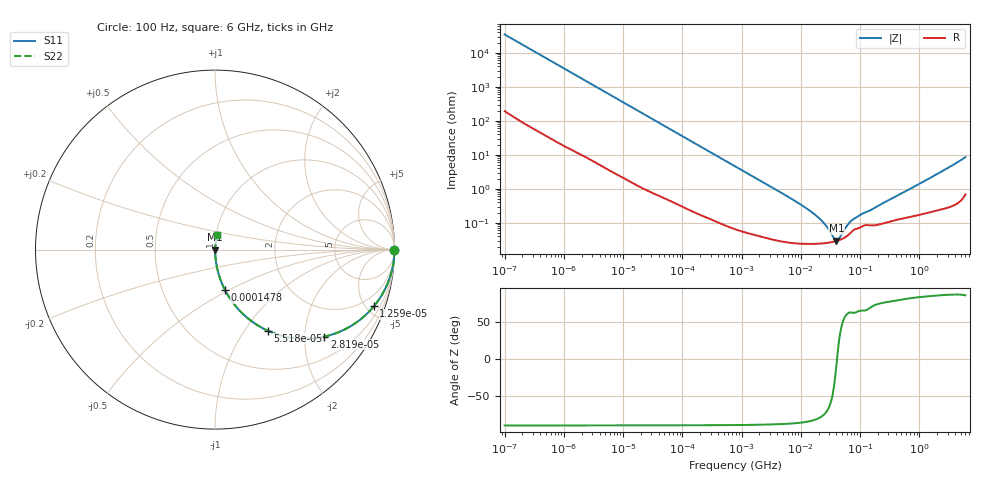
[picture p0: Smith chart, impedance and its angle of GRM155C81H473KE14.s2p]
!Murata Part Number: GRM155C81H473KE14
!These Parameters are Measured in Series Mode Connection
!Data Generated on Mar 30, 2021
!  o--ll--o
!Port1  Port2
!  o------o
!Operation Temp=25[degC], DC Bias Voltage=0[V]
!Freq. Start=100[Hz] Stop=6[GHz] 401[Steps]
# Hz S RI R 50
!Freq.(Hz) S11(Real) S11(Imag) S21(Real) S21(Imag) S12(Real) S12(Imag) S22(Real) S22(Imag)
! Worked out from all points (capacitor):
!   401 points, 100 Hz to 6 GHz, reference 50 ohm
!   read as one part in series: C = 45.9 nF near 109 Hz
!   lowest |Z| = 29.6 mohm at 39.84 MHz (marker M1)
!   series resonance near 40.88 MHz, so ESL is about 330 pH
!   S11 on the Smith chart (normalised r, x): 100 Hz: open; 12.59 kHz: 1.03, -5.59; 28.19 kHz: 1.02, -2.50; 55.18 kHz: 1.01, -1.28; 147.8 kHz: 1.00, -0.48; 6 GHz: 1.01, +0.17
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100  1 -0.00289  2.45e-05 0.00289  2.45e-05 0.00289  1 -0.00289
2008  0.9964 -0.0573  0.00362 0.0573  0.00362 0.0573  0.9964 -0.0573
5378  0.9762 -0.1496  0.0238 0.1496  0.0238 0.1496  0.9762 -0.1496
12592  0.8849 -0.3161  0.1151 0.3161  0.1151 0.3161  0.8849 -0.3161
18841  0.7761 -0.4138  0.2239 0.4138  0.2239 0.4138  0.7761 -0.4138
28191  0.6095 -0.4846  0.3905 0.4846  0.3905 0.4846  0.6095 -0.4846
40335  0.4345 -0.4922  0.5655 0.4922  0.5655 0.4922  0.4345 -0.4922
55182  0.2926 -0.4512  0.7074 0.4512  0.7074 0.4512  0.2926 -0.4512
86348  0.1463 -0.3493  0.8537 0.3493  0.8537 0.3493  0.1463 -0.3493
147774  0.0565 -0.2264  0.9435 0.2264  0.9435 0.2264  0.0565 -0.2264
316350  0.0137 -0.1111  0.9863 0.1111  0.9863 0.1111  0.0137 -0.1111
774597  0.00278 -0.0461  0.9972 0.0461  0.9972 0.0461  0.00278 -0.0461
6353432  0.000292 -0.00559  0.9997 0.00559  0.9997 0.00559  0.000292 -0.00559
1.555665e7  0.000244 -0.002  0.9998 0.002  0.9998 0.002  0.000244 -0.002
2.434276e7  0.000252 -0.000968  0.9997 0.000968  0.9997 0.000968  0.000252 -0.000968
3.64232e7  0.000281 -0.000207  0.9997 0.000207  0.9997 0.000207  0.000281 -0.000207
3.983537e7  0.000293 -4.6e-05  0.9997 4.6e-05  0.9997 4.6e-05  0.000293 -4.6e-05
4.35672e7  0.000307 0.000115  0.9997 -0.000115  0.9997 -0.000115  0.000307 0.000115
5.960426e7  0.000405 0.000695  0.9996 -0.000695  0.9996 -0.000695  0.000405 0.000695
7.455971e7  0.000578 0.00109  0.9994 -0.00109  0.9994 -0.00109  0.000578 0.00109
3.124326e8  0.00111 0.00464  0.9989 -0.00464  0.9989 -0.00464  0.00111 0.00464
6e9  0.0138 0.0834  0.9862 -0.0834  0.9862 -0.0834  0.0138 0.0834
